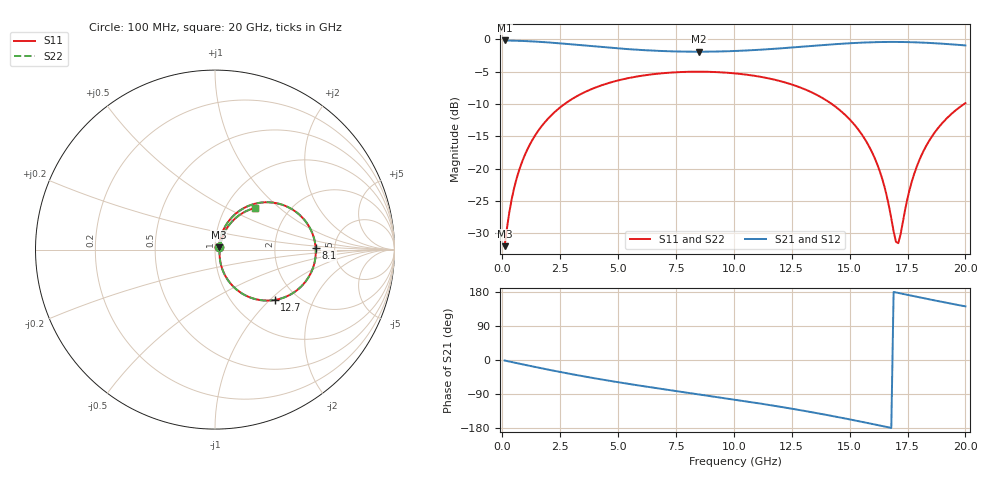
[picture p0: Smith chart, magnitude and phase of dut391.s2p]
! Touchstone file exported from HFSS 2026.1.0
!  File:  C:/ffzhzh/LocalFiles/Ansys_Project_Files/temp_train_TSV_RDL_391_1783090909_50312.aedt
!  Generated:  11:17:47 PM Jul  3, 2026
!  Design:  TSV_RDL
!  Project:  temp_train_TSV_RDL_391_1783090909_50312
! Variables:
!  h_bsmrdl = 4.83um
!  h_ox = 20um
!  h_rdl = 5um
!  h_sub = 83.33um
!  h_tmrdl = 5.08um
!  h_tsv = 83.33um
!  h_via = 3um
!  l_bsmrdl = 567.75um
!  l_sub = 3531.68um
!  l_tmrdl = 319.6um
!  m_sub = 200um
!  pitch = 52.62um
!  r_tsv = 2.29um
!  s_tmrdl = 10um
!  w_bsmrdl = 21.76um
!  w_sub = 500um
!  w_tmrdl = 28.25um
!  x_tsv_center1 = 333.725um
!  x_tsv_center2 = 923.235um
!  x_tsv_center3 = 1271.085um
!  x_tsv_center4 = 1860.595um
!  x_tsv_center5 = 2208.445um
!  x_tsv_center6 = 2797.955um
# GHz S MA R 50.000000
! Terminal data exported
! Port[1] = TM_RDL1_1_T1
! Port[2] = TM_RDL5_1_T1
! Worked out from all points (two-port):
!   200 points, 100 MHz to 20 GHz, reference 50 ohm
!   highest |S21| = -0.19 dB at 100 MHz (marker M1); lowest = -1.9 dB at 8.5 GHz (marker M2)
!   |S21| within 3 dB of the highest: start of sweep to end of sweep
!   lowest |S11| = -32.0 dB at 100 MHz (marker M3), VSWR 1.05, Z = 52.2 + j1.39 ohm
!   |S11| at or under -10 dB: start of sweep to 2.691 GHz; 14.23 GHz to 19.95 GHz (5.716 GHz wide, 33.4 % of centre)
!   |S22| runs from -32.0 to -5.0 dB; largest |S21 - S12| = 1.6e-14
!   S11 on the Smith chart (normalised r, x): 100 MHz: 1.04, +0.03; 8.1 GHz: 3.55, +0.09; 12.7 GHz: 1.55, -1.07; 20 GHz: 1.36, +0.70
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0.1  0.02524 32.0  0.9788 -1.4  0.9788 -1.4  0.02524 32.0
! Gamma 0 0 0 0
! Port Impedance 50 0 50 0
0.3  0.04566 57.3  0.977 -4.0  0.977 -4.0  0.04566 57.3
0.5  0.06952 64.5  0.9752 -6.6  0.9752 -6.6  0.06952 64.5
1.2  0.155 65.6  0.9646 -15.6  0.9646 -15.6  0.155 65.6
2.2  0.2675 56.6  0.9388 -28.0  0.9388 -28.0  0.2675 56.6
3.5  0.3858 43.1  0.8963 -43.0  0.8963 -43.0  0.3858 43.1
6.8  0.544 12.1  0.8125 -75.6  0.8125 -75.6  0.544 12.1
8.1  0.561 0.9  0.8016 -87.2  0.8016 -87.2  0.561 0.9
8.5  0.5618 -2.5  0.8011 -90.8  0.8011 -90.8  0.5618 -2.5
10.1  0.5439 -16.3  0.8123 -105.2  0.8123 -105.2  0.5439 -16.3
12.7  0.4352 -40.2  0.8688 -130.6  0.8688 -130.6  0.4351 -40.2
13.4  0.3861 -47.0  0.8889 -138.1  0.8889 -138.1  0.3861 -47.1
14.6  0.2812 -59.0  0.9219 -151.9  0.9219 -151.9  0.2812 -59.0
15.5  0.187 -66.9  0.9413 -162.8  0.9413 -162.8  0.1869 -67.0
16.2  0.1074 -69.4  0.9506 -171.6  0.9506 -171.6  0.1074 -69.5
16.7  0.05131 -59.0  0.9534 -177.9  0.9534 -177.9  0.05116 -59.2
17  0.02732 -19.7  0.9534 178.2  0.9534 178.2  0.02704 -19.9
17.1  0.02661 5.1  0.9532 177.0  0.9532 177.0  0.02632 5.2
17.6  0.07003 57.2  0.9498 170.6  0.9498 170.6  0.06992 57.4
18.1  0.1267 61.1  0.9431 164.3  0.9431 164.3  0.1267 61.2
18.9  0.2146 56.4  0.9266 154.5  0.9266 154.5  0.2146 56.5
20  0.321 46.2  0.8963 141.5  0.8963 141.5  0.321 46.3
